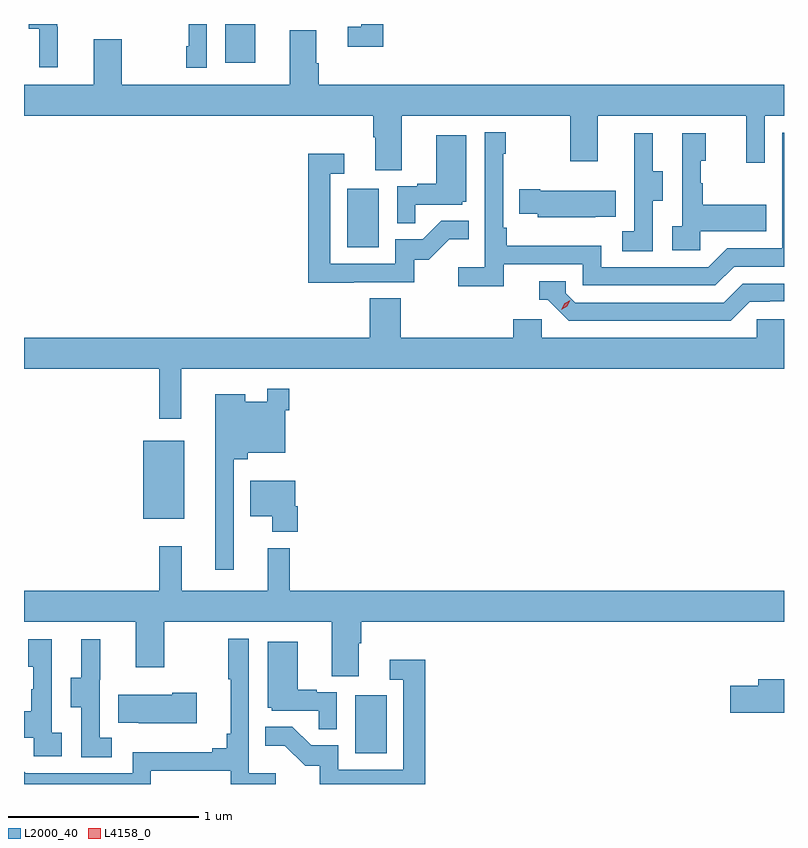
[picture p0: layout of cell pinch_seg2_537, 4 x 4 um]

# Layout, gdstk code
import gdstk
lib = gdstk.Library(unit=1e-6, precision=1e-09)
def R(c, l, rs):  # rectangles x0, y0, x1, y1
    for r in rs: c.add(gdstk.rectangle(r[:2], r[2:], *l))
def P(c, l, *ps):  # polygons
    for p in ps: c.add(gdstk.Polygon(p, *l))
L2000_40 = (2000, 40)
L4158_0 = (4158, 0)

pinch_seg2_537 = lib.new_cell('pinch_seg2_537')
R(pinch_seg2_537, L2000_40, [(1130.174,618.972,1130.338,619.279), (1129.058,620.207,1129.273,620.617), (1130.132,621.636,1130.296,621.943), (1129.49,622.608,1129.648,622.811)])
P(pinch_seg2_537, L2000_40, [(1128.608,622.797),(1128.606,622.797),(1128.606,622.811),(1128.455,622.811),(1128.455,622.786),(1128.509,622.786),(1128.509,622.584),(1128.608,622.584)],
  [(1129.392,622.811),(1129.296,622.811),(1129.296,622.693),(1129.284,622.693),(1129.284,622.581),(1129.392,622.581)],
  [(1130.321,622.811),(1130.205,622.811),(1130.205,622.797),(1130.133,622.797),(1130.133,622.692),(1130.321,622.692)],
  [(1130.419,622.328),(1131.304,622.328),(1131.304,622.089),(1131.451,622.089),(1131.451,622.328),(1132.232,622.328),(1132.232,622.08),(1132.329,622.08),(1132.329,622.328),(1132.43,622.328),(1132.43,622.492),(1129.982,622.492),(1129.982,622.604),(1129.969,622.604),(1129.969,622.778),(1129.829,622.778),(1129.829,622.492),(1128.945,622.492),(1128.945,622.732),(1128.797,622.732),(1128.797,622.492),(1128.43,622.492),(1128.43,622.328),(1130.267,622.328),(1130.267,622.216),(1130.279,622.216),(1130.279,622.042),(1130.419,622.042)],
  [(1130.954,621.546),(1131.372,621.546),(1131.372,621.435),(1132.069,621.435),(1132.168,621.534),(1132.43,621.534),(1132.43,622.239),(1132.422,622.239),(1132.422,621.63),(1132.131,621.63),(1132.032,621.531),(1131.468,621.531),(1131.468,621.643),(1130.972,621.643),(1130.972,621.739),(1130.952,621.739),(1130.952,622.127),(1130.965,622.127),(1130.965,622.24),(1130.856,622.24),(1130.856,621.532),(1130.715,621.532),(1130.715,621.43),(1130.954,621.43)],
  [(1131.738,621.88),(1131.793,621.88),(1131.793,622.035),(1131.739,622.035),(1131.739,622.237),(1131.641,622.237),(1131.641,622.023),(1131.642,622.023),(1131.642,621.719),(1131.579,621.719),(1131.579,621.616),(1131.738,621.616)],
  [(1131.99,621.719),(1132.337,621.719),(1132.337,621.859),(1132.003,621.859),(1132.003,621.974),(1131.993,621.974),(1131.993,622.092),(1132.018,622.092),(1132.018,622.237),(1131.894,622.237),(1131.894,621.746),(1131.843,621.746),(1131.843,621.621),(1131.99,621.621)],
  [(1130.489,621.861),(1130.736,621.861),(1130.736,621.876),(1130.758,621.876),(1130.758,622.225),(1130.6,622.225),(1130.6,621.97),(1130.501,621.97),(1130.501,621.957),(1130.394,621.957),(1130.394,621.763),(1130.489,621.763)],
  [(1130.165,621.453),(1130.484,621.453),(1130.484,621.57),(1130.56,621.57),(1130.667,621.677),(1130.771,621.677),(1130.771,621.776),(1130.627,621.776),(1130.529,621.678),(1130.385,621.678),(1130.385,621.549),(1130.043,621.549),(1130.043,622.023),(1130.116,622.023),(1130.116,622.129),(1129.927,622.129),(1129.927,621.448),(1130.165,621.448)],
  [(1131.437,621.797),(1131.545,621.797),(1131.545,621.934),(1131.148,621.934),(1131.148,621.942),(1131.037,621.942),(1131.037,621.812),(1131.135,621.812),(1131.135,621.794),(1131.437,621.794)],
  [(1132.249,621.348),(1132.356,621.348),(1132.356,621.351),(1132.43,621.351),(1132.43,621.444),(1132.212,621.444),(1132.113,621.345),(1131.33,621.345),(1131.282,621.393),(1131.282,621.456),(1131.143,621.456),(1131.143,621.36),(1131.186,621.36),(1131.297,621.249),(1132.15,621.249)],
  [(1129.258,620.996),(1132.43,620.996),(1132.43,621.258),(1132.287,621.258),(1132.287,621.16),(1131.156,621.16),(1131.156,621.258),(1131.005,621.258),(1131.005,621.16),(1130.414,621.16),(1130.414,621.368),(1130.249,621.368),(1130.249,621.16),(1128.43,621.16),(1128.43,620.996),(1129.141,620.996),(1129.141,620.733),(1129.258,620.733)],
  [(1129.533,620.519),(1129.607,620.519),(1129.607,620.555),(1129.806,620.555),(1129.806,620.777),(1129.826,620.777),(1129.826,620.89),(1129.71,620.89),(1129.71,620.824),(1129.594,620.824),(1129.594,620.863),(1129.436,620.863),(1129.436,619.938),(1129.533,619.938)],
  [(1129.871,620.274),(1129.858,620.274),(1129.858,620.407),(1129.622,620.407),(1129.622,620.219),(1129.736,620.219),(1129.736,620.138),(1129.871,620.138)],
  [(1130.191,619.552),(1130.204,619.552),(1130.204,619.664),(1132.43,619.664),(1132.43,619.828),(1129.829,619.828),(1129.829,620.053),(1129.712,620.053),(1129.712,619.828),(1129.259,619.828),(1129.259,620.062),(1129.141,620.062),(1129.141,619.828),(1128.43,619.828),(1128.43,619.664),(1129.019,619.664),(1129.019,619.425),(1129.167,619.425),(1129.167,619.664),(1130.051,619.664),(1130.051,619.378),(1130.191,619.378)],
  [(1129.098,618.882),(1129.517,618.882),(1129.517,618.811),(1129.756,618.811),(1129.756,618.868),(1129.614,618.868),(1129.614,619.576),(1129.506,619.576),(1129.506,619.363),(1129.517,619.363),(1129.517,619.075),(1129.498,619.075),(1129.498,618.998),(1129.421,618.998),(1129.421,618.979),(1129.002,618.979),(1129.002,618.867),(1128.438,618.867),(1128.43,618.875),(1128.43,618.811),(1129.098,618.811)],
  [(1128.628,619.082),(1128.576,619.082),(1128.576,619.573),(1128.452,619.573),(1128.452,619.428),(1128.478,619.428),(1128.478,619.31),(1128.468,619.31),(1128.468,619.195),(1128.43,619.195),(1128.43,619.055),(1128.48,619.055),(1128.48,618.957),(1128.628,618.957)],
  [(1128.892,619.055),(1128.828,619.055),(1128.828,619.359),(1128.83,619.359),(1128.83,619.573),(1128.731,619.573),(1128.731,619.371),(1128.677,619.371),(1128.677,619.216),(1128.732,619.216),(1128.732,618.952),(1128.892,618.952)],
  [(1130.076,619.293),(1129.97,619.293),(1129.97,619.306),(1129.87,619.306),(1129.87,619.561),(1129.712,619.561),(1129.712,619.212),(1129.734,619.212),(1129.734,619.197),(1129.981,619.197),(1129.981,619.099),(1130.076,619.099)],
  [(1130.543,619.465),(1130.355,619.465),(1130.355,619.359),(1130.427,619.359),(1130.427,618.885),(1130.085,618.885),(1130.085,619.014),(1129.941,619.014),(1129.843,619.112),(1129.699,619.112),(1129.699,619.013),(1129.803,619.013),(1129.91,618.906),(1129.987,618.906),(1129.987,618.811),(1130.543,618.811)],
  [(1132.43,619.363),(1132.295,619.363),(1132.295,619.329),(1132.146,619.329),(1132.146,619.187),(1132.43,619.187)],
  [(1129.339,619.29),(1129.211,619.29),(1129.211,619.282),(1128.925,619.282),(1128.925,619.133),(1129.033,619.133),(1129.033,619.13),(1129.339,619.13)])
P(pinch_seg2_537, L4158_0, [(1131.258,621.308),(1131.258,621.308),(1131.275,621.34),(1131.306,621.358),(1131.306,621.358),(1131.306,621.358),(1131.29,621.326),(1131.258,621.308)])

lib.write_gds('pinch_seg2_537.gds')
